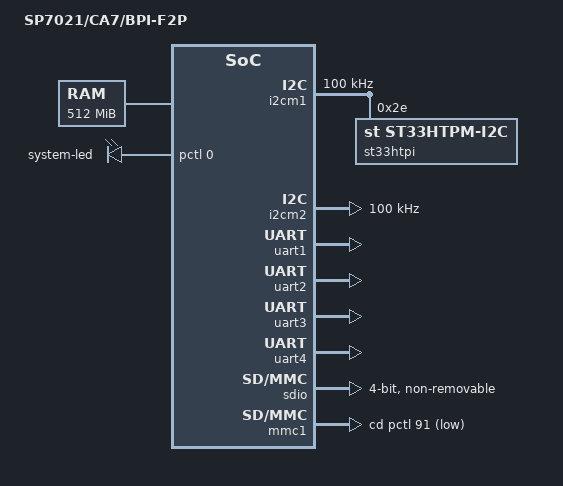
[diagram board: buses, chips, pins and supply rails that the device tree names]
/dts-v1/;

#include "sp7021-ChipC.dtsi"

/ {
	model = "SP7021/CA7/BPI-F2P";

	chosen {
		bootargs = "console=ttyS0,115200 root=/dev/ram rw loglevel=8 user_debug=255 earlyprintk";
		stdout-path = "serial0:115200n8";
	};

	memory {
		reg = <0x00000000 0x20000000>; /* 512MB */
	};

	soc@B {
		led {
			compatible = "gpio-leds";
			pinctrl-names = "default";
			pinctrl-0 = <&gpio_leds_pins>;
			system-led {
				label = "system-led";
				gpios = <&pctl 0 GPIO_ACTIVE_HIGH>;
				default-state = "off";
				linux,default-trigger = "heartbeat";
			};
		};
	};
};

&sp_display {
	ui_width = <1280>;
	ui_height = <720>;
	ui_format = <0x8>;
		/* 0x2 = 8bpp (ARGB)
		 * 0x4 = YUY2
		 * 0x8 = RGB565
		 * 0x9 = ARGB1555
		 * 0xa = RGBA4444
		 * 0xb = ARGB4444
		 * 0xd = RGBA8888
		 * 0xe = ARGB8888 */
};

&spi_controller0 {
	spi-max-frequency = <50000000>;
	spi-cpha;
	spi-cpol;
	pinctrl-names = "default";
	pinctrl-0 = <&pins_spi0>;
	status = "disabled";
};

&spi_controller1 {
	spi-max-frequency = <50000000>;
	spi-cpha;
	spi-cpol;
	status = "disabled";
};

&spi_controller2 {
	spi-max-frequency = <50000000>;
	spi-cpha;
	spi-cpol;
	status = "disabled";
};

&spi_controller3 {
	spi-max-frequency = <50000000>;
	spi-slave;
	status = "disabled";
};

&i2cm0 {
	clock-frequency = <100000>;
	pinctrl-names = "default";
	pinctrl-0 = <&i2cm0_pins>;
	status = "disabled";
};

&i2cm1 {
	clock-frequency = <100000>;
	pinctrl-names = "default";
	pinctrl-0 = <&i2cm1_tpm_pins>;
	#address-cells = <1>;
	#size-cells = <0>;
	st33htpi: st33htpi@2e {
		compatible = "st,st33htpm-i2c";
		reg = <0x2e>;
		status = "okay";
	};
};

&i2cm2 {
	clock-frequency = <100000>;
	pinctrl-names = "default";
	pinctrl-0 = <&i2cm2_mipicsi_pins>;
	status = "okay";
};

&i2cm3 {
	clock-frequency = <100000>;
	status = "disabled";
};

&uart1 {
	pinctrl-names = "default";
	pinctrl-0 = <&pins_uart1>;
	linux,rs485-enabled-at-boot-time;
	rs485-rts-delay = <0 0>;
	dir-gpios = <&pctl 7 GPIO_ACTIVE_LOW>;
	status = "okay";
};

&uart2 {
	pinctrl-names = "default";
	pinctrl-0 = <&pins_uart2>;
	linux,rs485-enabled-at-boot-time;
	rs485-rts-delay = <0 0>;
	dir-gpios = <&pctl 6 GPIO_ACTIVE_LOW>;
	status = "okay";
};

&uart3 {
	pinctrl-names = "default";
	pinctrl-0 = <&pins_uart3>;
	status = "okay";
};

&uart4 {
	pinctrl-names = "default";
	pinctrl-0 = <&pins_uart4>;
	status = "okay";
};

&sdio {
	pinctrl-names = "default";
	pinctrl-0 = <&pins_sdio>;
		bus-width = <4>;
		max-frequency = <25000000>;
		non-removable;
		disable-wp;
		cap-sd-highspeed;
		cap-sdio-irq;
		no-sd;
		no-mmc;
};

&l2sw {
	pinctrl-names = "default";
	pinctrl-0 = <&l2sw_f2p_pins>;
	mode = < 1 >;
		/* 0 = daisy-chain mode
		 * 1 = dual NIC mode
		 * 2 = daisy-chain mode (disable SA learning) */
};

&mmc0 {
	pinctrl-names = "default";
	pinctrl-0 = <&emmc_mux>;
};

&mmc1 {
	pinctrl-names = "default";
	pinctrl-0 = <&mmc1_mux &mmc1_mux_cd>;
	cd-gpios = <&pctl 91 GPIO_ACTIVE_LOW>;
};

&spinand0 {
	pinctrl-names = "default";
	pinctrl-0 = <&pins_spinand0>;
	status = "disabled";
};

&sp_spinor0 {
	spi-max-frequency = <50000000>;
	spi-chip-selection = <0>;
	pinctrl-names = "default";
	pinctrl-0 = <&spi_flash1_mux &spi_fla4b1_mux>;
	partitions {
		compatible = "fixed-partitions";
		#address-cells = <1>;
		#size-cells = <1>;
		partition@0 {
			label = "data";
			reg = <0 0x1000000>;
		};
	};
};

&hdmitx {
	pinctrl-names = "default";
	pinctrl-0 = <&hdmi_A_tx3>;
};

&mipicsi0 {
	i2c-id = <2>;
	cam_gpio0-gpios = <&pctl 92 GPIO_ACTIVE_HIGH>;
	cam_gpio1-gpios = <&pctl 93 GPIO_ACTIVE_HIGH>;
	pinctrl-names = "default";
	pinctrl-0 = <&mipicsi0_pins>;
};

&mipicsi1 {
	status = "disabled";
};

&rtc {
	charging-mode = <0xE>;
	/*
	 *      0xE     Disable
	 *      0x1     0.86mA (2K Ohm with diode)
	 *      0x5     1.81mA (250 Ohm with diode)
	 *      0x9     2.07mA (50 Ohm with diode)
	 *      0xD     16.0mA (0 Ohm with diode)
	 *      0x3     1.36mA (2K Ohm without diode)
	 *      0x7     3.99mA (250 Ohm without diode)
	 *      0xB     4.41mA (50 Ohm without diode)
	 *      0xF     16.0mA (0 Ohm without diode)    */
};

&audio {
	status = "disabled";
};

&pwm {
	pinctrl-names = "default";
	pinctrl-0 = <&pins_pwm>;
	status = "disabled";
};

&pctl {
	pinctrl-names = "default";

	i2cm0_pins: pinmux_i2cm0_pins {
		sppctl,pins = <
			SPPCTL_IOPAD(12,SPPCTL_PCTL_G_PMUX,MUXF_I2CM0_DAT,0)
			SPPCTL_IOPAD(13,SPPCTL_PCTL_G_PMUX,MUXF_I2CM0_CLK,0)
		>;
	};

	i2cm1_tpm_pins: pinmux_i2cm1_tpm_pins {
		sppctl,pins = <
			SPPCTL_IOPAD(64,SPPCTL_PCTL_G_PMUX,MUXF_I2CM1_DAT,0)
			SPPCTL_IOPAD(61,SPPCTL_PCTL_G_PMUX,MUXF_I2CM1_CLK,0)
		>;
	};

	i2cm2_mipicsi_pins: pinmux_i2cm2_mipicsi_pins {
		sppctl,pins = <
			SPPCTL_IOPAD(8,SPPCTL_PCTL_G_PMUX,MUXF_I2CM2_DAT,0)
			SPPCTL_IOPAD(9,SPPCTL_PCTL_G_PMUX,MUXF_I2CM2_CLK,0)
		>;
	};

	l2sw_f2p_pins: pinmux_l2sw_f2p_pins {
		sppctl,pins = <
			SPPCTL_IOPAD(49,SPPCTL_PCTL_G_PMUX,MUXF_L2SW_CLK_OUT,0)
			SPPCTL_IOPAD(44,SPPCTL_PCTL_G_PMUX,MUXF_L2SW_MAC_SMI_MDC,0)
			SPPCTL_IOPAD(43,SPPCTL_PCTL_G_PMUX,MUXF_L2SW_MAC_SMI_MDIO,0)
			SPPCTL_IOPAD(52,SPPCTL_PCTL_G_PMUX,MUXF_L2SW_P0_MAC_RMII_TXEN,0)
			SPPCTL_IOPAD(50,SPPCTL_PCTL_G_PMUX,MUXF_L2SW_P0_MAC_RMII_TXD0,0)
			SPPCTL_IOPAD(51,SPPCTL_PCTL_G_PMUX,MUXF_L2SW_P0_MAC_RMII_TXD1,0)
			SPPCTL_IOPAD(46,SPPCTL_PCTL_G_PMUX,MUXF_L2SW_P0_MAC_RMII_CRSDV,0)
			SPPCTL_IOPAD(47,SPPCTL_PCTL_G_PMUX,MUXF_L2SW_P0_MAC_RMII_RXD0,0)
			SPPCTL_IOPAD(48,SPPCTL_PCTL_G_PMUX,MUXF_L2SW_P0_MAC_RMII_RXD1,0)
			SPPCTL_IOPAD(59,SPPCTL_PCTL_G_PMUX,MUXF_L2SW_P1_MAC_RMII_TXEN,0)
			SPPCTL_IOPAD(57,SPPCTL_PCTL_G_PMUX,MUXF_L2SW_P1_MAC_RMII_TXD0,0)
			SPPCTL_IOPAD(58,SPPCTL_PCTL_G_PMUX,MUXF_L2SW_P1_MAC_RMII_TXD1,0)
			SPPCTL_IOPAD(54,SPPCTL_PCTL_G_PMUX,MUXF_L2SW_P1_MAC_RMII_CRSDV,0)
			SPPCTL_IOPAD(55,SPPCTL_PCTL_G_PMUX,MUXF_L2SW_P1_MAC_RMII_RXD0,0)
			SPPCTL_IOPAD(56,SPPCTL_PCTL_G_PMUX,MUXF_L2SW_P1_MAC_RMII_RXD1,0)
		>;
		sppctl,zero_func = <
			MUXF_L2SW_LED_FLASH0
			MUXF_L2SW_LED_FLASH1
			MUXF_L2SW_LED_ON0
			MUXF_L2SW_LED_ON1
			MUXF_L2SW_P0_MAC_RMII_RXER
			MUXF_L2SW_P1_MAC_RMII_RXER
			MUXF_DAISY_MODE
		>;
	};

	pins_sdio: pins_sdio {
		sppctl,pins = <
			SPPCTL_IOPAD(30,SPPCTL_PCTL_G_PMUX,MUXF_SDIO_CLK,0)
			SPPCTL_IOPAD(31,SPPCTL_PCTL_G_PMUX,MUXF_SDIO_CMD,0)
			SPPCTL_IOPAD(33,SPPCTL_PCTL_G_PMUX,MUXF_SDIO_D0,0)
			SPPCTL_IOPAD(34,SPPCTL_PCTL_G_PMUX,MUXF_SDIO_D1,0)
			SPPCTL_IOPAD(36,SPPCTL_PCTL_G_PMUX,MUXF_SDIO_D2,0)
			SPPCTL_IOPAD(38,SPPCTL_PCTL_G_PMUX,MUXF_SDIO_D3,0)
		>;
	};

	mmc1_mux_cd: mmc1_mux_cd {
		sppctl,pins = < SPPCTL_IOPAD(91,SPPCTL_PCTL_G_GPIO,0,0) >;
	};

	mipicsi0_pins: pinmux_mipicsi0_pins {
		sppctl,pins = <
			SPPCTL_IOPAD(92,SPPCTL_PCTL_G_GPIO,0,SPPCTL_PCTL_L_OU1)
			SPPCTL_IOPAD(93,SPPCTL_PCTL_G_GPIO,0,SPPCTL_PCTL_L_OU1)
		>;
	};

	gpio_leds_pins: pinmux_gpio_leds_pins {
		sppctl,pins = < SPPCTL_IOPAD(0,SPPCTL_PCTL_G_GPIO,0,SPPCTL_PCTL_L_OUT) >;
	};

	pins_uart1: pins_uart1 {
		sppctl,pins = <
			SPPCTL_IOPAD(11,SPPCTL_PCTL_G_PMUX,MUXF_UA1_TX,0)
			SPPCTL_IOPAD(10,SPPCTL_PCTL_G_PMUX,MUXF_UA1_RX,0)
			SPPCTL_IOPAD(7,SPPCTL_PCTL_G_GPIO,0,SPPCTL_PCTL_L_OUT)
		>;
	};

	pins_uart2: pins_uart2 {
		sppctl,pins = <
			SPPCTL_IOPAD(41,SPPCTL_PCTL_G_PMUX,MUXF_UA2_TX,0)
			SPPCTL_IOPAD(40,SPPCTL_PCTL_G_PMUX,MUXF_UA2_RX,0)
			SPPCTL_IOPAD(6,SPPCTL_PCTL_G_GPIO,0,SPPCTL_PCTL_L_OUT)
		>;
	};

	pins_uart3: pins_uart3 {
		sppctl,pins = <
			SPPCTL_IOPAD(45,SPPCTL_PCTL_G_PMUX,MUXF_UA3_TX,0)
			SPPCTL_IOPAD(42,SPPCTL_PCTL_G_PMUX,MUXF_UA3_RX,0)
			SPPCTL_IOPAD(32,SPPCTL_PCTL_G_PMUX,MUXF_UA3_RTS,0)
			SPPCTL_IOPAD(53,SPPCTL_PCTL_G_PMUX,MUXF_UA3_CTS,0)
		>;
	};

	pins_uart4: pins_uart4 {
		sppctl,pins = <
			SPPCTL_IOPAD(14,SPPCTL_PCTL_G_PMUX,MUXF_UA4_TX,0)
			SPPCTL_IOPAD(16,SPPCTL_PCTL_G_PMUX,MUXF_UA4_RX,0)
			SPPCTL_IOPAD(20,SPPCTL_PCTL_G_PMUX,MUXF_UA4_RTS,0)
			SPPCTL_IOPAD(22,SPPCTL_PCTL_G_PMUX,MUXF_UA4_CTS,0)
		>;
	};

	pins_spi0: pinmux_pins_spi0 {
		sppctl,pins = <
			SPPCTL_IOPAD(26,SPPCTL_PCTL_G_PMUX,MUXF_SPI0S_EN,0)
			SPPCTL_IOPAD(23,SPPCTL_PCTL_G_PMUX,MUXF_SPI0S_DO,0)
			SPPCTL_IOPAD(25,SPPCTL_PCTL_G_PMUX,MUXF_SPI0S_DI,0)
			SPPCTL_IOPAD(27,SPPCTL_PCTL_G_PMUX,MUXF_SPI0S_CLK,0)
		>;
	};

	pins_pwm: pinmux_pins_pwm {
		sppctl,pins = <
			SPPCTL_IOPAD(36,SPPCTL_PCTL_G_PMUX,MUXF_PWM0,0)
			SPPCTL_IOPAD(37,SPPCTL_PCTL_G_PMUX,MUXF_PWM1,0)
			SPPCTL_IOPAD(38,SPPCTL_PCTL_G_PMUX,MUXF_PWM2,0)
			SPPCTL_IOPAD(39,SPPCTL_PCTL_G_PMUX,MUXF_PWM3,0)
		>;
	};
};
